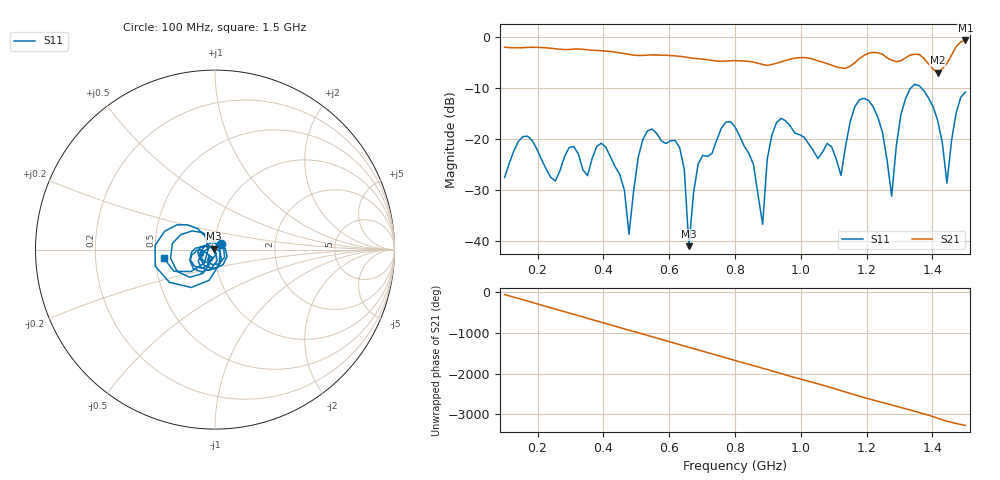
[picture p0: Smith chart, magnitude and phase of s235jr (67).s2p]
! NanoVNA-App
! Date: 2025-09-25 15:04:41
! Start: 100MHz Stop: 1,5GHz Points: 101
! S-Parameter data: F S11 S21 S12 S22
# Hz S RI R 50
!  Frequency  S11_Real  S11_Imag  S21_Real  S21_Imag  S12_Real  S12_Imag  S22_Real  S22_Imag
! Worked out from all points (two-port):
!   101 points, 100 MHz to 1.5 GHz, reference 50 ohm
!   highest |S21| = -0.64 dB at 1.5 GHz (marker M1); lowest = -7.0 dB at 1.416 GHz (marker M2)
!   |S21| within 3 dB of the highest: start of sweep to 612 MHz; 1.19 GHz to 1.254 GHz (63.35 MHz wide, 5.18 % of centre) (the widest 2 of 4)
!   lowest |S11| = -40.9 dB at 660 MHz (marker M3), VSWR 1.02, Z = 49.3 + j0.57 ohm
!   |S11| at or under -10 dB: start of sweep to 1.334 GHz; 1.367 GHz to end of sweep
!   S12 and S22 are empty: the file has one direction only
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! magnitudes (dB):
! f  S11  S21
! 100 MHz  -27.5  -2.0
! 156 MHz  -19.5  -2.0
! 338 MHz  -26.0  -2.4
! 408 MHz  -21.6  -2.7
! 478 MHz  -38.6  -3.4
! 520 MHz  -20.0  -3.6
! 576 MHz  -20.3  -3.5
! 632 MHz  -21.7  -3.7
! 660 MHz  -40.9  -4.0
! 688 MHz  -24.8  -4.2
! 800 MHz  -17.6  -4.6
! 884 MHz  -36.6  -5.3
! 898 MHz  -23.9  -5.5
! 926 MHz  -16.7  -5.1
! 1.038 GHz  -22.2  -4.3
! 1.122 GHz  -27.1  -6.0
! 1.206 GHz  -12.4  -3.1
! 1.276 GHz  -31.1  -4.5
! 1.332 GHz  -10.1  -3.5
! 1.416 GHz  -16.4  -7.0
! 1.444 GHz  -28.6  -5.1
! 1.5 GHz  -10.8  -0.6
